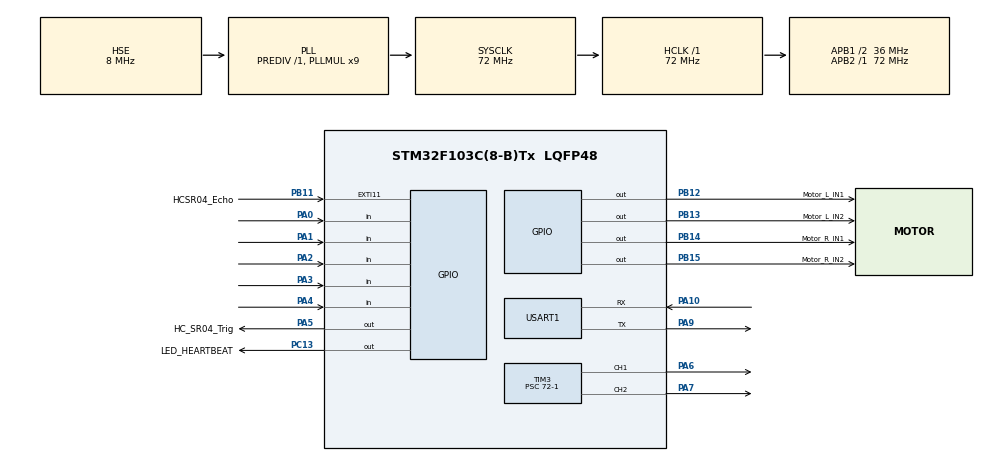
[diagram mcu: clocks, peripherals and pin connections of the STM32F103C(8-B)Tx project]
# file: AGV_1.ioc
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Mcu.Family=STM32F1
Mcu.Name=STM32F103C(8-B)Tx
Mcu.Package=LQFP48
NVIC.EXTI15_10_IRQn=true\:0\:0\:false\:false\:true\:true\:true\:true
NVIC.PriorityGroup=NVIC_PRIORITYGROUP_4
NVIC.USART1_IRQn=true\:0\:0\:false\:false\:true\:true\:true\:true
PA0-WKUP.Signal=GPIO_Input
PA1.Signal=GPIO_Input
PA10.Mode=Asynchronous
PA10.Signal=USART1_RX
PA13.Mode=Serial_Wire
PA13.Signal=SYS_JTMS-SWDIO
PA14.Mode=Serial_Wire
PA14.Signal=SYS_JTCK-SWCLK
PA2.Signal=GPIO_Input
PA3.Signal=GPIO_Input
PA4.Signal=GPIO_Input
PA5.GPIO_Label=HC_SR04_Trig
PA5.Signal=GPIO_Output
PA6.Signal=S_TIM3_CH1
PA7.Signal=S_TIM3_CH2
PA9.Mode=Asynchronous
PA9.Signal=USART1_TX
PB11.GPIO_Label=HCSR04_Echo
PB11.GPIO_ModeDefaultEXTI=GPIO_MODE_IT_RISING_FALLING
PB11.Signal=GPXTI11
PB12.GPIO_Label=Motor_L_IN1
PB12.Signal=GPIO_Output
PB13.GPIO_Label=Motor_L_IN2
PB13.Signal=GPIO_Output
PB14.GPIO_Label=Motor_R_IN1
PB14.Signal=GPIO_Output
PB15.GPIO_Label=Motor_R_IN2
PB15.Signal=GPIO_Output
PC13-TAMPER-RTC.GPIO_Label=LED_HEARTBEAT
PC13-TAMPER-RTC.Signal=GPIO_Output
PD0-OSC_IN.Mode=HSE-External-Oscillator
PD0-OSC_IN.Signal=RCC_OSC_IN
PD1-OSC_OUT.Mode=HSE-External-Oscillator
PD1-OSC_OUT.Signal=RCC_OSC_OUT
ProjectManager.HeapSize=0x200
ProjectManager.StackSize=0x400
ProjectManager.TargetToolchain=STM32CubeIDE
RCC.AHBFreq_Value=72000000
RCC.APB1CLKDivider=RCC_HCLK_DIV2
RCC.APB1Freq_Value=36000000
RCC.APB1TimFreq_Value=72000000
RCC.APB2Freq_Value=72000000
RCC.APB2TimFreq_Value=72000000
RCC.HCLKFreq_Value=72000000
RCC.PLLMUL=RCC_PLL_MUL9
RCC.PLLSourceVirtual=RCC_PLLSOURCE_HSE
RCC.SYSCLKFreq_VALUE=72000000
RCC.SYSCLKSource=RCC_SYSCLKSOURCE_PLLCLK
RCC.USBFreq_Value=72000000
SH.S_TIM3_CH1.0=TIM3_CH1,PWM Generation1 CH1
SH.S_TIM3_CH2.0=TIM3_CH2,PWM Generation2 CH2
TIM2.Prescaler=72-1
TIM3.Channel-PWM\ Generation1\ CH1=TIM_CHANNEL_1
TIM3.Channel-PWM\ Generation2\ CH2=TIM_CHANNEL_2
TIM3.Period=1000-1
TIM3.Prescaler=72-1
USART1.VirtualMode=VM_ASYNC
VP_TIM2_VS_ClockSourceINT.Mode=Internal
VP_TIM3_VS_ClockSourceINT.Mode=Internal
board=custom

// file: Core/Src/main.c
/* USER CODE BEGIN Header */
/**
  ******************************************************************************
  * @file           : main.c
  * @brief          : Main program body
  ******************************************************************************
  * @attention
  *
  * Copyright (c) 2026 STMicroelectronics.
  * All rights reserved.
  *
  * This software is licensed under terms that can be found in the LICENSE file
  * in the root directory of this software component.
  * If no LICENSE file comes with this software, it is provided AS-IS.
  *
  ******************************************************************************
  */
/* USER CODE END Header */
#include "main.h"
#include "tim.h"
#include "usart.h"
#include "gpio.h"

/* USER CODE BEGIN Includes */
#include "ESP32_comm.h"
#include "states_handling.h"
#include "motor_control.h"
#include "Hcsr04.h"
/* USER CODE END Includes */

/* USER CODE BEGIN PV */
AGV_System agv_system;
uint8_t rx_byte;
/* USER CODE END PV */

void SystemClock_Config(void);

int main(void)
{

  /* MCU Configuration--------------------------------------------------------*/

  /* Reset of all peripherals, Initializes the Flash interface and the Systick. */
  HAL_Init();

  /* Configure the system clock */
  SystemClock_Config();

  /* Initialize all configured peripherals */
  MX_GPIO_Init();
  MX_TIM2_Init();
  MX_TIM3_Init();
  MX_USART1_UART_Init();
  /* USER CODE BEGIN 2 */
  Motor_Init();
  AGV_Init(&agv_system);
  HCSR04_Init(&htim2);

  // Enable UART receive interrupt to get commands from ESP32
  HAL_UART_Receive_IT(&huart1, &rx_byte, 1);
  /* USER CODE END 2 */

  /* Infinite loop */
  while (1)
  {

    /* USER CODE BEGIN 3 */
	  uint32_t current_tick = HAL_GetTick();
	  static uint32_t last_trigger_tick = 0;
	  static uint32_t last_heartbeat_tick = 0;

	  // 1. (OPTIONAL) Blink LED heartbeat each 500ms to indicate the system is alive
	  if (current_tick - last_heartbeat_tick >= 500) {
		  HAL_GPIO_TogglePin(LED_HEARTBEAT_GPIO_Port, LED_HEARTBEAT_Pin);
	      last_heartbeat_tick = current_tick;
	  }

	  // 2. Activate ultrasonic trigger every 100ms (or as needed)
	  if (current_tick - last_trigger_tick >= 100) {
		  HCSR04_Trigger();
	      last_trigger_tick = current_tick;
	  }

	  // 3. Update ultrasonic sensor readings
	  HCSR04_Update();

	  // 4. Run FSM update for AGV control logic
	  AGV_Update(&agv_system);
  }
  /* USER CODE END 3 */
}

void SystemClock_Config(void)
{
  RCC_OscInitTypeDef RCC_OscInitStruct = {0};
  RCC_ClkInitTypeDef RCC_ClkInitStruct = {0};

  /** Initializes the RCC Oscillators according to the specified parameters
  * in the RCC_OscInitTypeDef structure.
  */
  RCC_OscInitStruct.OscillatorType = RCC_OSCILLATORTYPE_HSE;
  RCC_OscInitStruct.HSEState = RCC_HSE_ON;
  RCC_OscInitStruct.HSEPredivValue = RCC_HSE_PREDIV_DIV1;
  RCC_OscInitStruct.HSIState = RCC_HSI_ON;
  RCC_OscInitStruct.PLL.PLLState = RCC_PLL_ON;
  RCC_OscInitStruct.PLL.PLLSource = RCC_PLLSOURCE_HSE;
  RCC_OscInitStruct.PLL.PLLMUL = RCC_PLL_MUL9;
  if (HAL_RCC_OscConfig(&RCC_OscInitStruct) != HAL_OK)
  {
    Error_Handler();
  }

  /** Initializes the CPU, AHB and APB buses clocks
  */
  RCC_ClkInitStruct.ClockType = RCC_CLOCKTYPE_HCLK|RCC_CLOCKTYPE_SYSCLK
                              |RCC_CLOCKTYPE_PCLK1|RCC_CLOCKTYPE_PCLK2;
  RCC_ClkInitStruct.SYSCLKSource = RCC_SYSCLKSOURCE_PLLCLK;
  RCC_ClkInitStruct.AHBCLKDivider = RCC_SYSCLK_DIV1;
  RCC_ClkInitStruct.APB1CLKDivider = RCC_HCLK_DIV2;
  RCC_ClkInitStruct.APB2CLKDivider = RCC_HCLK_DIV1;

  if (HAL_RCC_ClockConfig(&RCC_ClkInitStruct, FLASH_LATENCY_2) != HAL_OK)
  {
    Error_Handler();
  }
}

/* USER CODE BEGIN 4 */
// Callback interrupt UART (Receive from ESP32)
void HAL_UART_RxCpltCallback(UART_HandleTypeDef *huart)
{
    if (huart->Instance == USART1)
    {
        // Push reveived byte into ESP32 command parser
        ESP32_ReceiveByte(&agv_system.comm, rx_byte);

        // Reactivate UART receive interrupt for the next byte
        HAL_UART_Receive_IT(&huart1, &rx_byte, 1);
    }
}

// Callback interrupt EXTI (Capture echo pulse from HC-SR04)
void HAL_GPIO_EXTI_Callback(uint16_t GPIO_Pin)
{
    HCSR04_EXTI_Handler(GPIO_Pin);
}

/* USER CODE END 4 */

void Error_Handler(void)
{
  __disable_irq();
  while (1)
  {
  }
}
